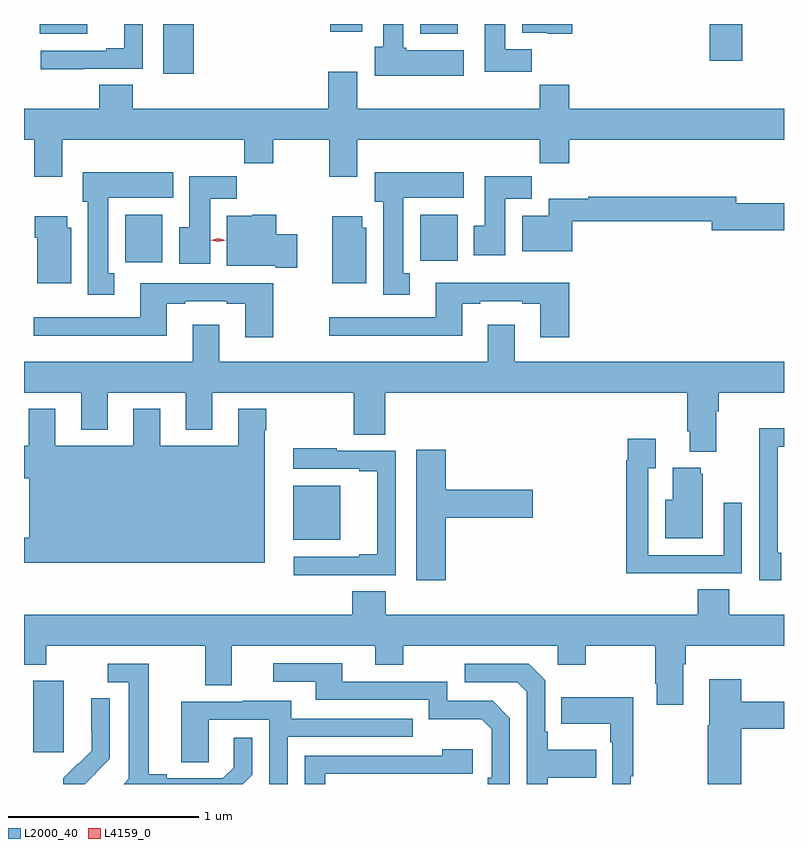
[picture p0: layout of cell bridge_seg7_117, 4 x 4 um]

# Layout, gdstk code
import gdstk
lib = gdstk.Library(unit=1e-6, precision=1e-09)
def R(c, l, rs):  # rectangles x0, y0, x1, y1
    for r in rs: c.add(gdstk.rectangle(r[:2], r[2:], *l))
def P(c, l, *ps):  # polygons
    for p in ps: c.add(gdstk.Polygon(p, *l))
L2000_40 = (2000, 40)
L4159_0 = (4159, 0)

bridge_seg7_117 = lib.new_cell('bridge_seg7_117')
R(bridge_seg7_117, L2000_40, [(807.347,1008.048,807.508,1008.424), (808.715,1009.166,808.963,1009.45), (807.831,1010.628,808.027,1010.878), (809.384,1010.636,809.581,1010.878), (808.031,1011.618,808.192,1011.881), (810.908,1011.687,811.078,1011.881), (807.383,1011.83,807.631,1011.881), (809.384,1011.83,809.581,1011.881), (808.91,1011.84,809.08,1011.881)])
P(bridge_seg7_117, L2000_40, [(810.185,1011.881),(809.921,1011.881),(809.921,1011.836),(810.054,1011.836),(810.054,1011.83),(810.185,1011.83)],
  [(807.611,1011.645),(807.924,1011.645),(807.924,1011.881),(807.827,1011.881),(807.827,1011.754),(807.731,1011.754),(807.731,1011.741),(807.387,1011.741),(807.387,1011.644),(807.611,1011.644)],
  [(809.614,1011.742),(809.31,1011.742),(809.31,1011.756),(809.296,1011.756),(809.296,1011.881),(809.189,1011.881),(809.189,1011.762),(809.144,1011.762),(809.144,1011.608),(809.614,1011.608)],
  [(809.972,1011.748),(809.833,1011.748),(809.833,1011.881),(809.723,1011.881),(809.723,1011.63),(809.972,1011.63)],
  [(807.499,1011.272),(808.459,1011.272),(808.459,1011.148),(808.611,1011.148),(808.611,1011.272),(808.906,1011.272),(808.906,1011.078),(809.053,1011.078),(809.053,1011.272),(810.013,1011.272),(810.013,1011.148),(810.17,1011.148),(810.17,1011.272),(811.299,1011.272),(811.299,1011.436),(810.17,1011.436),(810.17,1011.56),(810.013,1011.56),(810.013,1011.436),(809.053,1011.436),(809.053,1011.631),(808.901,1011.631),(808.901,1011.436),(807.872,1011.436),(807.872,1011.56),(807.695,1011.56),(807.695,1011.436),(807.299,1011.436),(807.299,1011.272),(807.352,1011.272),(807.352,1011.078),(807.499,1011.078)],
  [(809.329,1010.57),(809.296,1010.57),(809.296,1010.966),(809.614,1010.966),(809.614,1011.1),(809.144,1011.1),(809.144,1010.946),(809.189,1010.946),(809.189,1010.457),(809.329,1010.457)],
  [(807.775,1010.569),(807.742,1010.569),(807.742,1010.966),(808.084,1010.966),(808.084,1011.1),(807.608,1011.1),(807.608,1010.946),(807.635,1010.946),(807.635,1010.457),(807.775,1010.457)],
  [(809.833,1010.96),(809.972,1010.96),(809.972,1011.079),(809.723,1011.079),(809.723,1010.82),(809.666,1010.82),(809.666,1010.664),(809.833,1010.664)],
  [(808.279,1010.96),(808.418,1010.96),(808.418,1011.079),(808.169,1011.079),(808.169,1010.812),(808.115,1010.812),(808.115,1010.619),(808.279,1010.619)],
  [(810.185,1010.842),(810.92,1010.842),(810.92,1010.795),(811.299,1010.795),(811.299,1010.937),(811.048,1010.937),(811.048,1010.971),(810.268,1010.971),(810.268,1010.96),(810.062,1010.96),(810.062,1010.872),(809.921,1010.872),(809.921,1010.684),(810.185,1010.684)],
  [(808.738,1010.775),(808.626,1010.775),(808.626,1010.878),(808.5,1010.878),(808.5,1010.872),(808.367,1010.872),(808.367,1010.609),(808.625,1010.609),(808.625,1010.597),(808.738,1010.597)],
  [(809.101,1010.808),(809.08,1010.808),(809.08,1010.869),(808.922,1010.869),(808.922,1010.516),(809.101,1010.516)],
  [(807.547,1010.808),(807.526,1010.808),(807.526,1010.869),(807.356,1010.869),(807.356,1010.756),(807.368,1010.756),(807.368,1010.516),(807.547,1010.516)],
  [(810.17,1010.518),(809.465,1010.518),(809.465,1010.337),(808.905,1010.337),(808.905,1010.24),(809.605,1010.24),(809.605,1010.409),(809.701,1010.409),(809.701,1010.421),(809.921,1010.421),(809.921,1010.409),(810.017,1010.409),(810.017,1010.232),(810.17,1010.232)],
  [(808.611,1010.517),(807.911,1010.517),(807.911,1010.337),(807.351,1010.337),(807.351,1010.24),(808.051,1010.24),(808.051,1010.409),(808.147,1010.409),(808.147,1010.421),(808.367,1010.421),(808.367,1010.409),(808.463,1010.409),(808.463,1010.232),(808.611,1010.232)],
  [(810.943,1009.844),(810.956,1009.844),(810.956,1009.94),(811.299,1009.94),(811.299,1010.104),(809.881,1010.104),(809.881,1010.299),(809.741,1010.299),(809.741,1010.104),(808.327,1010.104),(808.327,1010.299),(808.187,1010.299),(808.187,1010.104),(807.299,1010.104),(807.299,1009.94),(807.599,1009.94),(807.599,1009.746),(807.739,1009.746),(807.739,1009.94),(808.151,1009.94),(808.151,1009.746),(808.291,1009.746),(808.291,1009.94),(809.035,1009.94),(809.035,1009.72),(809.201,1009.72),(809.201,1009.94),(810.791,1009.94),(810.791,1009.738),(810.803,1009.738),(810.803,1009.631),(810.943,1009.631)],
  [(808.567,1009.742),(808.575,1009.742),(808.575,1009.855),(808.427,1009.855),(808.427,1009.66),(808.015,1009.66),(808.015,1009.855),(807.875,1009.855),(807.875,1009.66),(807.463,1009.66),(807.463,1009.855),(807.323,1009.855),(807.323,1009.66),(807.299,1009.66),(807.299,1009.49),(807.326,1009.49),(807.326,1009.176),(807.299,1009.176),(807.299,1009.046),(808.567,1009.046)],
  [(811.285,1009.098),(811.266,1009.098),(811.266,1009.656),(811.299,1009.656),(811.299,1009.754),(811.168,1009.754),(811.168,1009.447),(811.17,1009.447),(811.17,1008.954),(811.285,1008.954)],
  [(810.761,1008.99),(811.077,1008.99),(811.077,1009.36),(810.981,1009.36),(810.981,1009.086),(810.585,1009.086),(810.585,1009.543),(810.625,1009.543),(810.625,1009.699),(810.477,1009.699),(810.477,1009.586),(810.469,1009.586),(810.469,1008.989),(810.761,1008.989)],
  [(808.943,1008.981),(809.256,1008.981),(809.256,1009.635),(808.946,1009.635),(808.946,1009.648),(808.716,1009.648),(808.716,1009.539),(809.063,1009.539),(809.063,1009.527),(809.159,1009.527),(809.159,1009.09),(809.063,1009.09),(809.063,1009.077),(808.719,1009.077),(808.719,1008.98),(808.943,1008.98)],
  [(809.519,1009.283),(809.977,1009.283),(809.977,1009.43),(809.519,1009.43),(809.519,1009.639),(809.363,1009.639),(809.363,1008.954),(809.519,1008.954)],
  [(810.871,1009.515),(810.86,1009.515),(810.86,1009.546),(810.713,1009.546),(810.713,1009.378),(810.674,1009.378),(810.674,1009.175),(810.871,1009.175)],
  [(810.769,1008.512),(810.782,1008.512),(810.782,1008.608),(811.299,1008.608),(811.299,1008.772),(811.01,1008.772),(811.01,1008.905),(810.845,1008.905),(810.845,1008.772),(809.204,1008.772),(809.204,1008.896),(809.027,1008.896),(809.027,1008.772),(807.299,1008.772),(807.299,1008.509),(807.417,1008.509),(807.417,1008.608),(808.253,1008.608),(808.253,1008.4),(808.393,1008.4),(808.393,1008.608),(809.147,1008.608),(809.147,1008.509),(809.295,1008.509),(809.295,1008.608),(810.108,1008.608),(810.108,1008.509),(810.255,1008.509),(810.255,1008.608),(810.622,1008.608),(810.622,1008.409),(810.629,1008.409),(810.629,1008.297),(810.769,1008.297)],
  [(809.856,1008.228),(809.766,1008.318),(809.526,1008.318),(809.526,1008.42),(808.975,1008.42),(808.975,1008.516),(808.611,1008.516),(808.611,1008.42),(808.835,1008.42),(808.835,1008.324),(809.43,1008.324),(809.43,1008.221),(809.707,1008.221),(809.76,1008.168),(809.76,1007.914),(809.74,1007.914),(809.74,1007.881),(809.856,1007.881)],
  [(810.055,1007.914),(810.311,1007.914),(810.311,1008.061),(810.055,1008.061),(810.055,1008.157),(810.042,1008.157),(810.042,1008.426),(809.955,1008.513),(809.619,1008.513),(809.619,1008.417),(809.895,1008.417),(809.946,1008.366),(809.946,1007.881),(810.055,1007.881)],
  [(808.5,1007.93),(808.5,1008.124),(808.403,1008.124),(808.403,1007.967),(808.346,1007.91),(808.051,1007.91),(808.051,1007.933),(807.955,1007.933),(807.955,1008.513),(807.741,1008.513),(807.741,1008.417),(807.851,1008.417),(807.851,1007.909),(807.823,1007.881),(808.451,1007.881)],
  [(811.073,1008.173),(811.299,1008.173),(811.299,1008.315),(811.073,1008.315),(811.073,1008.433),(810.905,1008.433),(810.905,1008.189),(810.898,1008.189),(810.898,1007.881),(811.073,1007.881)],
  [(810.493,1007.921),(810.505,1007.921),(810.505,1008.337),(810.127,1008.337),(810.127,1008.197),(810.384,1008.197),(810.384,1008.101),(810.396,1008.101),(810.396,1007.881),(810.493,1007.881)],
  [(807.678,1007.94),(807.677,1007.941),(807.75,1008.014),(807.75,1008.332),(807.653,1008.332),(807.653,1008.16),(807.656,1008.16),(807.656,1008.056),(807.585,1007.985),(807.582,1007.988),(807.505,1007.911),(807.505,1007.881),(807.619,1007.881)],
  [(808.686,1008.129),(809.345,1008.129),(809.345,1008.225),(808.705,1008.225),(808.705,1008.319),(808.451,1008.319),(808.451,1008.315),(808.127,1008.315),(808.127,1007.995),(808.272,1007.995),(808.272,1008.219),(808.59,1008.219),(808.59,1007.881),(808.686,1007.881)],
  [(808.885,1007.934),(809.662,1007.934),(809.662,1008.064),(809.501,1008.064),(809.501,1008.03),(808.776,1008.03),(808.776,1007.881),(808.885,1007.881)])
P(bridge_seg7_117, L4159_0, [(808.321,1010.734),(808.282,1010.744),(808.281,1010.744),(808.282,1010.744),(808.321,1010.754),(808.361,1010.744),(808.361,1010.744),(808.361,1010.744)])

lib.write_gds('bridge_seg7_117.gds')
